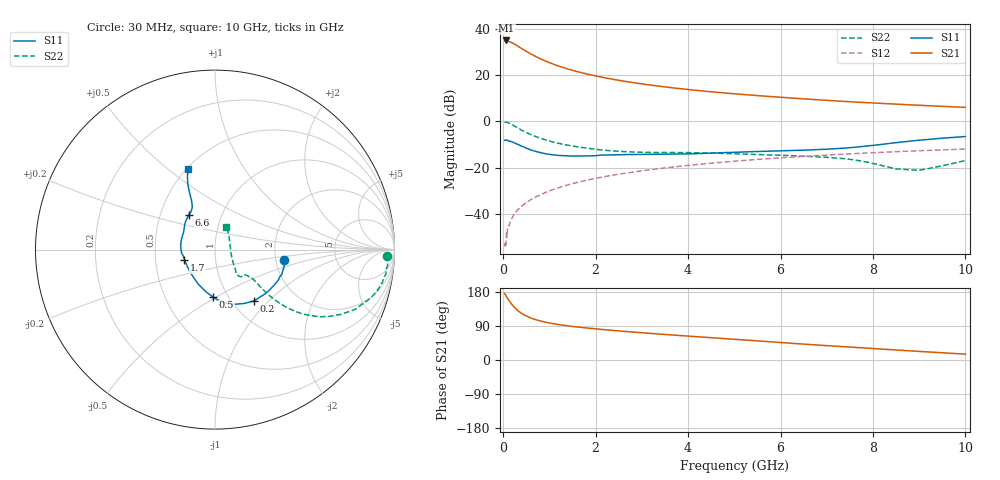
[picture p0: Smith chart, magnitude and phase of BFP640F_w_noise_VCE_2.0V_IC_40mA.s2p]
! Infineon Technologies  Discrete & RF Semiconductors
! BFP640F
! VCE =  2.0 V,  IC =  40 mA
! Common Emitter S-Parameters:  Apr 2013
# GHz  S  MA  R  50
!  f  S11  S21  S12  S22
! GHz  MAG  ANG  MAG  ANG  MAG  ANG  MAG  ANG
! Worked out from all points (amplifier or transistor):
!   99 points, 30 MHz to 10 GHz, reference 50 ohm
!   highest |S21| = 35.1 dB at 70 MHz (marker M1)
!   |S21| within 3 dB of that: start of sweep to 357.2 MHz
!   unconditionally stable (mu >= 1): 1.483 GHz to end of sweep
!   at 350 MHz: K = 0.56, MSG = 34.8 dB, |S12| = -37.5 dB
!   at 3.5 GHz: K = 1.06, MAG = 16.0 dB, |S12| = -20.1 dB
!   at 10 GHz: K = 1.04, MAG = 7.8 dB, |S12| = -11.9 dB
!   lowest NFmin = 1.22 dB at 450 MHz
!   S11 on the Smith chart (normalised r, x): 30 MHz: 2.23, -0.32; 200 MHz: 1.26, -0.82; 500 MHz: 0.85, -0.48; 1.7 GHz: 0.71, -0.08; 6.6 GHz: 0.70, +0.29; 10 GHz: 0.51, +0.59
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0.03  0.3917 -8.9  55.29 175.3  0.0023 112.6  0.9588 -2.0
0.05  0.3977 -14.8  56.72 171.7  0.0024 73.4  0.966 -5.3
0.07  0.3977 -20.2  56.8 167.3  0.0042 88.8  0.9614 -8.1
0.13  0.3782 -36.8  53.57 156.0  0.0056 85.0  0.9175 -16.1
0.2  0.3588 -52.7  49.85 144.7  0.0084 79.0  0.8461 -23.3
0.25  0.3416 -61.5  46.95 137.9  0.0103 75.4  0.7905 -27.1
0.3  0.3248 -69.5  43.82 132.1  0.0118 76.3  0.7404 -30.1
0.35  0.3096 -76.5  40.6 127.1  0.0134 74.6  0.6932 -32.7
0.4  0.2919 -82.5  37.97 122.9  0.0148 72.8  0.6467 -34.6
0.5  0.2646 -92.4  32.99 116.1  0.0176 73.9  0.5764 -37.2
0.6  0.2423 -101.1  28.97 110.8  0.0204 73.7  0.5193 -38.8
0.7  0.2256 -108.8  25.63 106.6  0.0232 73.5  0.4735 -39.6
0.9  0.2017 -122.8  20.68 100.2  0.0287 73.5  0.404 -40.2
1.3  0.182 -145.5  14.68 91.8  0.0397 72.7  0.3203 -39.2
1.7  0.1793 -161.6  11.36 85.9  0.0506 71.2  0.2735 -37.8
2.4  0.1898 179.6  8.115 77.8  0.0697 68.4  0.2298 -39.0
3.4  0.1957 160.6  5.769 68.3  0.0961 63.2  0.2129 -42.8
5.1  0.2169 141.1  3.907 53.8  0.1404 53.9  0.1986 -48.0
6.6  0.2416 126.9  3.049 41.1  0.1776 45.0  0.1753 -48.0
6.7  0.2445 125.5  3.001 40.3  0.1799 44.4  0.1738 -47.8
8.5  0.3483 114.1  2.375 26.4  0.2222 33.6  0.0942 -16.5
10  0.4728 108.3  2.024 15.4  0.2536 24.7  0.1428 63.4
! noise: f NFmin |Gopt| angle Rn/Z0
0.45  1.22  0.25  -172  0.08
0.9  1.22  0.26  -169  0.08
1.5  1.25  0.28  -162  0.09
1.9  1.28  0.29  -155  0.1
2.4  1.3  0.3  -146  0.1
3.5  1.38  0.31  -135  0.12
5.5  1.59  0.33  -117  0.16
10  2.07  0.48  -81  0.56
